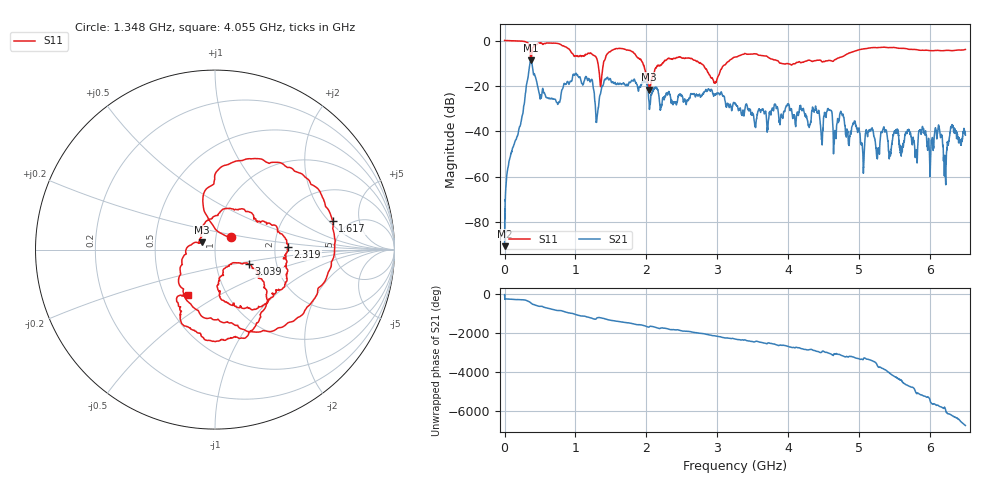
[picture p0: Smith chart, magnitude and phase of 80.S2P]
!Keysight Technologies,E5063A,MY54503115,A.05.08
!Date: Mon Dec 11 14:54:32 2023
!Data & Calibration Information:
!Freq	S11:NONE(--)	S21:NONE(--)	S12:NONE(--)	S22:NONE(--)
# Hz S dB R 50
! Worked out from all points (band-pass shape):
!   10001 points, 100 kHz to 6.5 GHz, reference 50 ohm
!   highest |S21| = -8.65 dB at 370.6 MHz (marker M1); lowest = -90.7 dB at 100 kHz (marker M2)
!   |S21| within 3 dB of the highest: 349.9 MHz to 392.5 MHz (42.67 MHz wide, 11.5 % of centre)
!   lowest |S11| = -21.6 dB at 2.041 GHz (marker M3), VSWR 1.18, Z = 43.1 + j3.47 ohm
!   |S11| at or under -10 dB: 1.951 GHz to 2.225 GHz (274.2 MHz wide, 13.1 % of centre); 2.768 GHz to 3.129 GHz (360.4 MHz wide, 12.2 % of centre); 3.895 GHz to 4.107 GHz (211.8 MHz wide, 5.29 % of centre) (the widest 3 of 6)
!   S12 and S22 are empty: the file has one direction only
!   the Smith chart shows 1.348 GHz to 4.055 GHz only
!   S11 on the Smith chart (normalised r, x): 1.348 GHz: 1.18, +0.17; 1.617 GHz: 3.80, +2.21; 2.319 GHz: 2.37, +0.08; 3.039 GHz: 1.44, -0.24; 4.055 GHz: 0.66, -0.37
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100000  0.05 -0.6  -90.74 -73.1  -200.00 0.0  -200.00 0.0
2.301965e8  -0.21 -76.5  -36.08 45.0  -200.00 0.0  -200.00 0.0
3.705943e8  -8.63 -131.6  -8.65 -123.2  -200.00 0.0  -200.00 0.0
5.954908e8  -1.06 160.7  -25.19 -16.8  -200.00 0.0  -200.00 0.0
7.410886e8  -1.23 89.2  -27.43 -147.6  -200.00 0.0  -200.00 0.0
8.697866e8  -2.89 8.6  -19.02 123.7  -200.00 0.0  -200.00 0.0
9.653352e8  -6.02 -76.5  -14.95 49.7  -200.00 0.0  -200.00 0.0
1.083633e9  -7.00 173.5  -18.66 -71.0  -200.00 0.0  -200.00 0.0
1.347529e9  -19.05 38.3  -23.89 -158.0  -200.00 0.0  -200.00 0.0
1.616625e9  -3.41 13.6  -19.24 8.3  -200.00 0.0  -200.00 0.0
1.826572e9  -5.60 -59.4  -17.16 -116.7  -200.00 0.0  -200.00 0.0
2.041069e9  -21.61 151.3  -28.88 86.0  -200.00 0.0  -200.00 0.0
2.167167e9  -10.82 42.4  -22.71 24.6  -200.00 0.0  -200.00 0.0
2.318614e9  -7.80 2.0  -22.79 -25.5  -200.00 0.0  -200.00 0.0
3.039453e9  -13.71 -23.2  -23.78 -49.4  -200.00 0.0  -200.00 0.0
3.25005e9  -7.27 -51.6  -27.68 -165.0  -200.00 0.0  -200.00 0.0
4.055388e9  -10.58 -120.6  -32.16 119.2  -200.00 0.0  -200.00 0.0
4.333583e9  -9.14 -130.5  -31.10 12.2  -200.00 0.0  -200.00 0.0
5.417117e9  -3.12 162.8  -49.00 -66.1  -200.00 0.0  -200.00 0.0
6.105456e9  -4.30 123.4  -41.15 52.7  -200.00 0.0  -200.00 0.0
6.212054e9  -4.39 119.0  -51.56 -103.6  -200.00 0.0  -200.00 0.0
6.5e9  -3.92 109.6  -41.79 96.1  -200.00 0.0  -200.00 0.0
